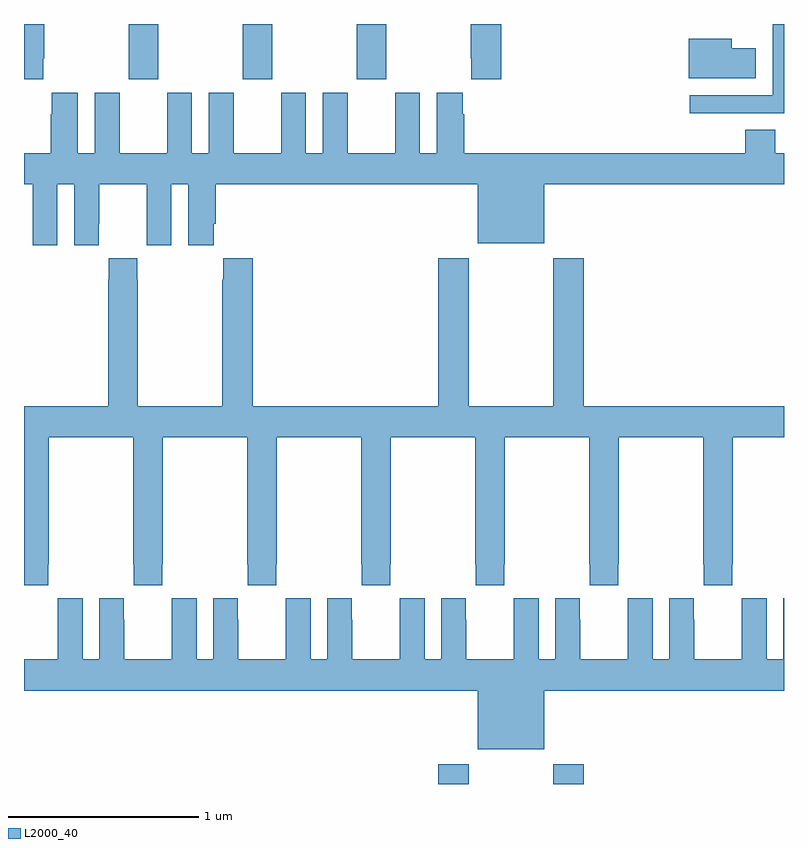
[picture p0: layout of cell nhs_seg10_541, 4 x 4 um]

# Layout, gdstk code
import gdstk
lib = gdstk.Library(unit=1e-6, precision=1e-09)
def R(c, l, rs):  # rectangles x0, y0, x1, y1
    for r in rs: c.add(gdstk.rectangle(r[:2], r[2:], *l))
def A(c, l, x, y, w, h, nx, ny, dx, dy):  # array of equal rectangles
    R(c, l, [(x+i*dx, y+j*dy, x+i*dx+w, y+j*dy+h) for i in range(nx) for j in range(ny)])
def P(c, l, *ps):  # polygons
    for p in ps: c.add(gdstk.Polygon(p, *l))
L2000_40 = (2000, 40)

nhs_seg10_541 = lib.new_cell('nhs_seg10_541')
A(nhs_seg10_541, L2000_40, 137.551, 1294.209, 0.155, 0.291, 3, 1, 0.6, 0)
R(nhs_seg10_541, L2000_40, [(139.181,1290.5,139.341,1290.604), (139.786,1290.5,139.946,1290.604)])
P(nhs_seg10_541, L2000_40, [(139.511,1294.5),(139.351,1294.5),(139.351,1294.321),(139.355,1294.321),(139.355,1294.209),(139.511,1294.209)],
  [(137.101,1294.321),(137.106,1294.321),(137.106,1294.5),(137,1294.5),(137,1294.209),(137.101,1294.209)],
  [(141,1294.5),(140.94,1294.5),(140.94,1294.125),(140.505,1294.125),(140.505,1294.029),(141,1294.029)],
  [(140.851,1294.372),(140.725,1294.372),(140.725,1294.423),(140.498,1294.423),(140.498,1294.214),(140.851,1294.214)],
  [(137.176,1293.656),(137.264,1293.656),(137.264,1293.336),(137.394,1293.336),(137.394,1293.448),(137.395,1293.448),(137.395,1293.656),(137.645,1293.656),(137.645,1293.448),(137.646,1293.448),(137.646,1293.336),(137.776,1293.336),(137.776,1293.656),(137.864,1293.656),(137.864,1293.336),(137.998,1293.336),(137.998,1293.448),(138.008,1293.448),(138.008,1293.656),(139.388,1293.656),(139.388,1293.347),(139.738,1293.347),(139.738,1293.656),(141,1293.656),(141,1293.82),(140.955,1293.82),(140.955,1293.944),(140.795,1293.944),(140.795,1293.82),(139.316,1293.82),(139.316,1294.025),(139.309,1294.025),(139.309,1294.138),(139.172,1294.138),(139.172,1293.82),(139.084,1293.82),(139.084,1294.138),(138.953,1294.138),(138.953,1293.82),(138.703,1293.82),(138.703,1294.138),(138.572,1294.138),(138.572,1293.82),(138.484,1293.82),(138.484,1294.138),(138.353,1294.138),(138.353,1293.82),(138.103,1293.82),(138.103,1294.138),(137.972,1294.138),(137.972,1293.82),(137.884,1293.82),(137.884,1294.138),(137.753,1294.138),(137.753,1293.82),(137.503,1293.82),(137.503,1294.138),(137.372,1294.138),(137.372,1293.82),(137.284,1293.82),(137.284,1294.138),(137.147,1294.138),(137.147,1294.025),(137.141,1294.025),(137.141,1293.82),(137,1293.82),(137,1293.656),(137.045,1293.656),(137.045,1293.448),(137.046,1293.448),(137.046,1293.336),(137.176,1293.336)],
  [(137.127,1291.657),(137.13,1291.657),(137.13,1292.324),(137.575,1292.324),(137.575,1291.657),(137.577,1291.657),(137.577,1291.545),(137.727,1291.545),(137.727,1291.657),(137.73,1291.657),(137.73,1292.324),(138.175,1292.324),(138.175,1291.657),(138.177,1291.657),(138.177,1291.545),(138.327,1291.545),(138.327,1291.657),(138.33,1291.657),(138.33,1292.324),(138.775,1292.324),(138.775,1291.657),(138.777,1291.657),(138.777,1291.545),(138.927,1291.545),(138.927,1291.657),(138.93,1291.657),(138.93,1292.324),(139.375,1292.324),(139.375,1291.657),(139.377,1291.657),(139.377,1291.545),(139.527,1291.545),(139.527,1291.657),(139.53,1291.657),(139.53,1292.324),(139.975,1292.324),(139.975,1291.657),(139.977,1291.657),(139.977,1291.545),(140.127,1291.545),(140.127,1291.657),(140.13,1291.657),(140.13,1292.324),(140.575,1292.324),(140.575,1291.657),(140.577,1291.657),(140.577,1291.545),(140.727,1291.545),(140.727,1291.657),(140.73,1291.657),(140.73,1292.324),(141,1292.324),(141,1292.488),(139.946,1292.488),(139.946,1293.268),(139.786,1293.268),(139.786,1292.488),(139.341,1292.488),(139.341,1293.268),(139.181,1293.268),(139.181,1292.488),(138.203,1292.488),(138.203,1293.268),(138.049,1293.268),(138.049,1293.155),(138.043,1293.155),(138.043,1292.488),(137.598,1292.488),(137.598,1293.155),(137.595,1293.155),(137.595,1293.268),(137.445,1293.268),(137.445,1293.155),(137.443,1293.155),(137.443,1292.488),(137,1292.488),(137,1291.545),(137.127,1291.545)],
  [(139.738,1290.992),(141,1290.992),(141,1291.477),(140.996,1291.477),(140.996,1291.156),(140.908,1291.156),(140.908,1291.477),(140.778,1291.477),(140.778,1291.364),(140.777,1291.364),(140.777,1291.156),(140.527,1291.156),(140.527,1291.364),(140.526,1291.364),(140.526,1291.477),(140.396,1291.477),(140.396,1291.156),(140.308,1291.156),(140.308,1291.477),(140.178,1291.477),(140.178,1291.364),(140.177,1291.364),(140.177,1291.156),(139.927,1291.156),(139.927,1291.364),(139.926,1291.364),(139.926,1291.477),(139.796,1291.477),(139.796,1291.156),(139.708,1291.156),(139.708,1291.477),(139.578,1291.477),(139.578,1291.364),(139.577,1291.364),(139.577,1291.156),(139.327,1291.156),(139.327,1291.364),(139.326,1291.364),(139.326,1291.477),(139.196,1291.477),(139.196,1291.156),(139.108,1291.156),(139.108,1291.477),(138.978,1291.477),(138.978,1291.364),(138.977,1291.364),(138.977,1291.156),(138.727,1291.156),(138.727,1291.364),(138.726,1291.364),(138.726,1291.477),(138.596,1291.477),(138.596,1291.156),(138.508,1291.156),(138.508,1291.477),(138.378,1291.477),(138.378,1291.364),(138.377,1291.364),(138.377,1291.156),(138.127,1291.156),(138.127,1291.364),(138.126,1291.364),(138.126,1291.477),(137.996,1291.477),(137.996,1291.156),(137.908,1291.156),(137.908,1291.477),(137.778,1291.477),(137.778,1291.364),(137.777,1291.364),(137.777,1291.156),(137.527,1291.156),(137.527,1291.364),(137.526,1291.364),(137.526,1291.477),(137.396,1291.477),(137.396,1291.156),(137.308,1291.156),(137.308,1291.477),(137.178,1291.477),(137.178,1291.364),(137.177,1291.364),(137.177,1291.156),(137,1291.156),(137,1290.992),(139.388,1290.992),(139.388,1290.683),(139.738,1290.683)])

lib.write_gds('nhs_seg10_541.gds')
